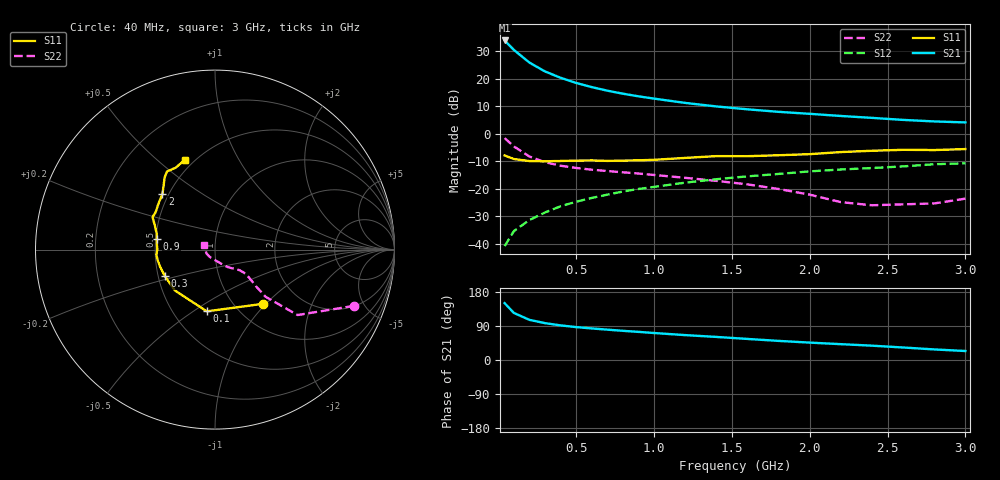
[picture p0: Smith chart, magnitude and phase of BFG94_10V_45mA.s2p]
! Filename:  BFG94C.S2P  Version:  2.0
! Philips part #: BFG 94  Date: May 1990
! Bias condition: Vce=10V, Ic=45mA
#  MHz  S  MA  R  50
! Freq  S11  S21  S12  S22  !GUM [dB]
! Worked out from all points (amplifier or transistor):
!   21 points, 40 MHz to 3 GHz, reference 50 ohm
!   highest |S21| = 34.0 dB at 40 MHz (marker M1)
!   |S21| within 3 dB of that: start of sweep to 91.86 MHz
!   unconditionally stable (mu >= 1): 399.8 MHz to end of sweep
!   at 300 MHz: K = 0.97, MSG = 25.7 dB, |S12| = -28.6 dB
!   at 1 GHz: K = 1.09, MAG = 14.3 dB, |S12| = -19.3 dB
!   at 3 GHz: K = 1.04, MAG = 6.3 dB, |S12| = -10.8 dB
!   lowest NFmin = 2.70 dB at 500 MHz
!   S11 on the Smith chart (normalised r, x): 40 MHz: 1.34, -0.96; 100 MHz: 0.73, -0.57; 300 MHz: 0.54, -0.18; 900 MHz: 0.51, +0.07; 2 GHz: 0.46, +0.35; 3 GHz: 0.45, +0.62
40  0.404 -48.4  50.03 150.0  0.009 74.3  0.836 -22.0
100  0.347 -97.6  33.55 124.0  0.017 66.9  0.587 -38.4
200  0.319 -134.5  19.73 105.9  0.027 67.6  0.385 -43.0
300  0.316 -152.0  13.62 97.2  0.037 70.5  0.304 -41.8
400  0.32 -162.4  10.46 91.3  0.048 71.4  0.262 -40.1
500  0.325 -169.4  8.42 86.8  0.058 72.1  0.239 -39.2
600  0.328 -175.0  7.07 83.3  0.068 72.3  0.222 -38.5
700  0.321 179.8  6.1 80.1  0.078 72.2  0.21 -38.6
800  0.325 175.1  5.37 77.0  0.089 71.4  0.199 -38.8
900  0.329 170.0  4.81 74.2  0.099 70.8  0.189 -39.4
1000  0.336 164.9  4.37 71.2  0.108 69.9  0.178 -40.1
1200  0.364 157.5  3.65 65.7  0.129 68.8  0.158 -43.1
1400  0.392 152.6  3.15 60.9  0.149 66.8  0.139 -48.2
1600  0.391 147.8  2.79 55.6  0.168 64.9  0.12 -54.1
1800  0.407 140.5  2.51 50.4  0.186 63.0  0.099 -60.5
2000  0.426 133.4  2.31 45.9  0.207 60.7  0.078 -70.5
2200  0.465 127.8  2.11 41.8  0.224 57.7  0.057 -92.9
2400  0.491 124.8  1.95 37.8  0.238 56.1  0.05 -125.7
2600  0.511 121.6  1.79 33.0  0.255 54.6  0.052 -155.3
2800  0.506 115.7  1.68 27.9  0.279 52.0  0.054 179.9
3000  0.527 108.7  1.61 23.7  0.29 46.8  0.066 154.9
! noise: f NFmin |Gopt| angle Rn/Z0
500  2.7  0.108  159.1  0.241
1000  3  0.295  -177.3  0.204
